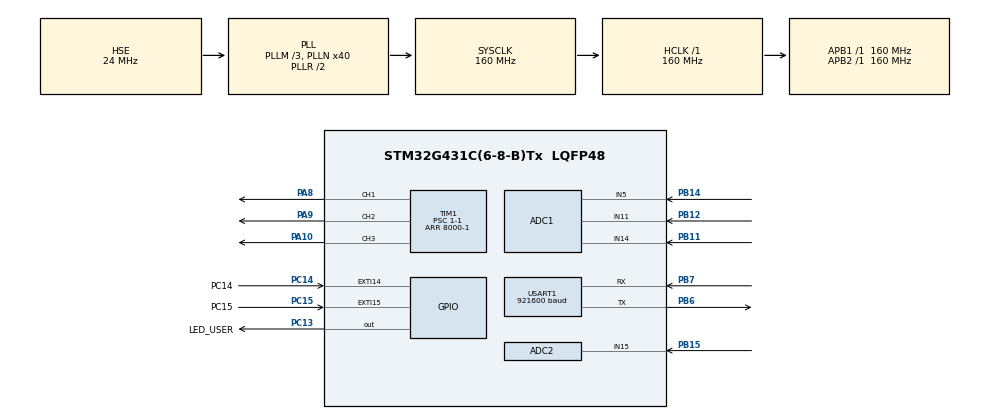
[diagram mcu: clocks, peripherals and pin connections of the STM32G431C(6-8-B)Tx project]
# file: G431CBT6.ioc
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ADC1.EnableInjectedConversion=ENABLE
ADC1.EnableRegularConversion=DISABLE
ADC1.ExternalTrigInjecConv=ADC_EXTERNALTRIGINJEC_T1_CC4
ADC1.InjNumberOfConversion=3
ADC1.InjectedChannel-1\#ChannelInjectedConversion=ADC_CHANNEL_5
ADC1.InjectedChannel-2\#ChannelInjectedConversion=ADC_CHANNEL_14
ADC1.InjectedChannel-3\#ChannelInjectedConversion=ADC_CHANNEL_11
ADC1.InjectedOffsetNumber-1\#ChannelInjectedConversion=ADC_OFFSET_NONE
ADC1.InjectedOffsetNumber-2\#ChannelInjectedConversion=ADC_OFFSET_NONE
ADC1.InjectedOffsetNumber-3\#ChannelInjectedConversion=ADC_OFFSET_NONE
ADC1.InjectedRank-1\#ChannelInjectedConversion=1
ADC1.InjectedRank-2\#ChannelInjectedConversion=2
ADC1.InjectedRank-3\#ChannelInjectedConversion=3
ADC1.InjectedSamplingTime-1\#ChannelInjectedConversion=ADC_SAMPLETIME_2CYCLES_5
ADC1.InjectedSamplingTime-2\#ChannelInjectedConversion=ADC_SAMPLETIME_2CYCLES_5
ADC1.InjectedSamplingTime-3\#ChannelInjectedConversion=ADC_SAMPLETIME_2CYCLES_5
ADC1.Rank1_Channel=ADC_CHANNEL_5
ADC1.Rank2_Channel=ADC_CHANNEL_14
ADC1.Rank3_Channel=ADC_CHANNEL_11
ADC1.master=1
ADC2.Channel-0\#ChannelRegularConversion=ADC_CHANNEL_15
ADC2.NbrOfConversionFlag=1
ADC2.OffsetNumber-0\#ChannelRegularConversion=ADC_OFFSET_NONE
ADC2.Rank-0\#ChannelRegularConversion=1
ADC2.SamplingTime-0\#ChannelRegularConversion=ADC_SAMPLETIME_2CYCLES_5
Dma.Request0=USART1_TX
Dma.USART1_TX.0.Direction=DMA_MEMORY_TO_PERIPH
Dma.USART1_TX.0.EventEnable=DISABLE
Dma.USART1_TX.0.Instance=DMA1_Channel1
Dma.USART1_TX.0.MemDataAlignment=DMA_MDATAALIGN_BYTE
Dma.USART1_TX.0.MemInc=DMA_MINC_ENABLE
Dma.USART1_TX.0.Mode=DMA_NORMAL
Dma.USART1_TX.0.PeriphDataAlignment=DMA_PDATAALIGN_BYTE
Dma.USART1_TX.0.PeriphInc=DMA_PINC_DISABLE
Dma.USART1_TX.0.Polarity=HAL_DMAMUX_REQ_GEN_RISING
Dma.USART1_TX.0.Priority=DMA_PRIORITY_LOW
Dma.USART1_TX.0.RequestNumber=1
Dma.USART1_TX.0.SignalID=NONE
Dma.USART1_TX.0.SyncEnable=DISABLE
Dma.USART1_TX.0.SyncPolarity=HAL_DMAMUX_SYNC_NO_EVENT
Dma.USART1_TX.0.SyncRequestNumber=1
Dma.USART1_TX.0.SyncSignalID=NONE
Mcu.Family=STM32G4
Mcu.Name=STM32G431C(6-8-B)Tx
Mcu.Package=LQFP48
NVIC.ADC1_2_IRQn=true\:0\:0\:false\:false\:true\:true\:true\:true
NVIC.DMA1_Channel1_IRQn=true\:0\:0\:false\:false\:true\:false\:true\:true
NVIC.EXTI15_10_IRQn=true\:0\:0\:true\:false\:true\:true\:true\:true
NVIC.PriorityGroup=NVIC_PRIORITYGROUP_4
NVIC.TIM1_BRK_TIM15_IRQn=true\:0\:0\:false\:false\:true\:true\:true\:true
NVIC.TIM1_CC_IRQn=true\:0\:0\:false\:false\:true\:true\:true\:true
NVIC.TIM1_UP_TIM16_IRQn=true\:0\:0\:false\:false\:true\:true\:true\:true
NVIC.USART1_IRQn=true\:0\:0\:false\:false\:true\:true\:true\:true
PA10.Signal=S_TIM1_CH3
PA13.Mode=Serial_Wire
PA13.Signal=SYS_JTMS-SWDIO
PA14.Mode=Serial_Wire
PA14.Signal=SYS_JTCK-SWCLK
PA8.Signal=S_TIM1_CH1
PA9.Signal=S_TIM1_CH2
PB11.Mode=IN14-Single-Ended
PB11.Signal=ADC1_IN14
PB12.Mode=IN11-Single-Ended
PB12.Signal=ADC1_IN11
PB14.Mode=IN5-Single-Ended
PB14.Signal=ADC1_IN5
PB15.Mode=IN15-Single-Ended
PB15.Signal=ADC2_IN15
PB6.Mode=Asynchronous
PB6.Signal=USART1_TX
PB7.Mode=Asynchronous
PB7.Signal=USART1_RX
PC13.GPIO_Label=LED_USER
PC13.PinState=GPIO_PIN_SET
PC13.Signal=GPIO_Output
PC14-OSC32_IN.GPIO_Label=PC14
PC14-OSC32_IN.GPIO_PuPd=GPIO_PULLUP
PC14-OSC32_IN.Signal=GPXTI14
PC15-OSC32_OUT.GPIO_Label=PC15
PC15-OSC32_OUT.GPIO_PuPd=GPIO_PULLUP
PC15-OSC32_OUT.Signal=GPXTI15
PF0-OSC_IN.Mode=HSE-External-Oscillator
PF0-OSC_IN.Signal=RCC_OSC_IN
PF1-OSC_OUT.Mode=HSE-External-Oscillator
PF1-OSC_OUT.Signal=RCC_OSC_OUT
ProjectManager.HeapSize=0x200
ProjectManager.StackSize=0x400
ProjectManager.TargetToolchain=MDK-ARM V5.32
RCC.ADC12Freq_Value=160000000
RCC.AHBFreq_Value=160000000
RCC.APB1Freq_Value=160000000
RCC.APB1TimFreq_Value=160000000
RCC.APB2Freq_Value=160000000
RCC.APB2TimFreq_Value=160000000
RCC.CortexFreq_Value=160000000
RCC.EXTERNAL_CLOCK_VALUE=12288000
RCC.EnbaleCSS=true
RCC.HCLKFreq_Value=160000000
RCC.HSE_VALUE=24000000
RCC.HSI48_VALUE=48000000
RCC.HSI_VALUE=16000000
RCC.LSE_VALUE=32768
RCC.PLLM=RCC_PLLM_DIV3
RCC.PLLN=40
RCC.PLLSourceVirtual=RCC_PLLSOURCE_HSE
RCC.SYSCLKFreq_VALUE=160000000
RCC.SYSCLKSource=RCC_SYSCLKSOURCE_PLLCLK
RCC.USBFreq_Value=160000000
RCC.VCOOutputFreq_Value=320000000
SH.S_TIM1_CH1.0=TIM1_CH1,PWM Generation1 CH1
SH.S_TIM1_CH2.0=TIM1_CH2,PWM Generation2 CH2
SH.S_TIM1_CH3.0=TIM1_CH3,PWM Generation3 CH3
TIM1.BreakFilter=0
TIM1.Channel-PWM\ Generation1\ CH1=TIM_CHANNEL_1
TIM1.Channel-PWM\ Generation2\ CH2=TIM_CHANNEL_2
TIM1.Channel-PWM\ Generation3\ CH3=TIM_CHANNEL_3
TIM1.Channel-PWM\ Generation4\ No\ Output=TIM_CHANNEL_4
TIM1.ClockDivision=TIM_CLOCKDIVISION_DIV2
TIM1.CounterMode=TIM_COUNTERMODE_CENTERALIGNED1
TIM1.OCMode_PWM-PWM\ Generation4\ No\ Output=TIM_OCMODE_PWM2
TIM1.PeriodNoDither=8000-1
TIM1.Prescaler=1-1
TIM1.PulseNoDither_4=8000-2
TIM1.RepetitionCounter=1
TIM1.TIM_MasterOutputTrigger=TIM_TRGO_OC4REF
USART1.BaudRate=921600
USART1.VirtualMode-Asynchronous=VM_ASYNC
VP_SYS_VS_DBSignals.Mode=DisableDeadBatterySignals
VP_TIM1_VS_no_output4.Mode=PWM Generation4 No Output
board=custom

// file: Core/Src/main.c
/* USER CODE BEGIN Header */
/**
  ******************************************************************************
  * @file           : main.c
  * @brief          : Main program body
  ******************************************************************************
  * @attention
  *
  * Copyright (c) 2024 STMicroelectronics.
  * All rights reserved.
  *
  * This software is licensed under terms that can be found in the LICENSE file
  * in the root directory of this software component.
  * If no LICENSE file comes with this software, it is provided AS-IS.
  *
  ******************************************************************************
  */
/* USER CODE END Header */
#include "main.h"

/* USER CODE BEGIN Includes */
#include "stdio.h"
#include "string.h"
#include "VF.h"
/* USER CODE END Includes */

ADC_HandleTypeDef hadc1;
ADC_HandleTypeDef hadc2;

TIM_HandleTypeDef htim1;

UART_HandleTypeDef huart1;
DMA_HandleTypeDef hdma_usart1_tx;

void SystemClock_Config(void);
static void MX_GPIO_Init(void);
static void MX_DMA_Init(void);
static void MX_TIM1_Init(void);
static void MX_ADC1_Init(void);
static void MX_ADC2_Init(void);
static void MX_USART1_UART_Init(void);

/* USER CODE BEGIN 0 */
float vbus=0.0f;
uint8_t adc_offset_flag=0;//adc offset
uint16_t adc1_in5_a=0,adc1_in14_b=0,adc1_in11_c=0;
uint16_t ia_offset = 0, ib_offset = 0, ic_offset = 0;
float ia, ib, ic;
float temp[7];
uint8_t tx_buffer[32] = {0, 0, 0, 0,0, 0, 0, 0,0, 0, 0, 0, 0, 0, 0, 0, 0, 0, 0, 0, 0, 0, 0, 0, 0, 0, 0, 0, 0, 0, 0x80, 0x7F};
/* USER CODE END 0 */

int main(void)
{

  /* MCU Configuration--------------------------------------------------------*/

  /* Reset of all peripherals, Initializes the Flash interface and the Systick. */
  HAL_Init();

  /* Configure the system clock */
  SystemClock_Config();

  /* Initialize all configured peripherals */
  MX_GPIO_Init();
  MX_DMA_Init();
  MX_TIM1_Init();
  MX_ADC1_Init();
  MX_ADC2_Init();
  MX_USART1_UART_Init();
  /* USER CODE BEGIN 2 */
	HAL_ADCEx_Calibration_Start(&hadc1, ADC_SINGLE_ENDED);   // enable adc1 cali
  HAL_ADCEx_Calibration_Start(&hadc2, ADC_SINGLE_ENDED);   // enable adc2 cali
  TIM1->ARR = 8000 - 1;
  TIM1->CCR4 = 8000 - 2;
	HAL_TIM_Base_Start(&htim1);
  HAL_TIM_PWM_Start(&htim1, TIM_CHANNEL_4);
  HAL_ADCEx_InjectedStart_IT(&hadc1);
	rtU.Freq=4;
	rtU.ud=0.0f;
	rtU.uq=6.0f;
  /* USER CODE END 2 */

  /* Infinite loop */
  while (1)
  {

    /* USER CODE BEGIN 3 */
		HAL_ADC_Start(&hadc2);
		vbus = HAL_ADC_GetValue(&hadc2)*(3.3f/4096.0f)*(11.0f);
		rtU.v_bus = vbus;
		HAL_Delay(1);
  }
  /* USER CODE END 3 */
}

void SystemClock_Config(void)
{
  RCC_OscInitTypeDef RCC_OscInitStruct = {0};
  RCC_ClkInitTypeDef RCC_ClkInitStruct = {0};

  /** Configure the main internal regulator output voltage
  */
  HAL_PWREx_ControlVoltageScaling(PWR_REGULATOR_VOLTAGE_SCALE1_BOOST);

  /** Initializes the RCC Oscillators according to the specified parameters
  * in the RCC_OscInitTypeDef structure.
  */
  RCC_OscInitStruct.OscillatorType = RCC_OSCILLATORTYPE_HSE;
  RCC_OscInitStruct.HSEState = RCC_HSE_ON;
  RCC_OscInitStruct.PLL.PLLState = RCC_PLL_ON;
  RCC_OscInitStruct.PLL.PLLSource = RCC_PLLSOURCE_HSE;
  RCC_OscInitStruct.PLL.PLLM = RCC_PLLM_DIV3;
  RCC_OscInitStruct.PLL.PLLN = 40;
  RCC_OscInitStruct.PLL.PLLP = RCC_PLLP_DIV2;
  RCC_OscInitStruct.PLL.PLLQ = RCC_PLLQ_DIV2;
  RCC_OscInitStruct.PLL.PLLR = RCC_PLLR_DIV2;
  if (HAL_RCC_OscConfig(&RCC_OscInitStruct) != HAL_OK)
  {
    Error_Handler();
  }

  /** Initializes the CPU, AHB and APB buses clocks
  */
  RCC_ClkInitStruct.ClockType = RCC_CLOCKTYPE_HCLK|RCC_CLOCKTYPE_SYSCLK
                              |RCC_CLOCKTYPE_PCLK1|RCC_CLOCKTYPE_PCLK2;
  RCC_ClkInitStruct.SYSCLKSource = RCC_SYSCLKSOURCE_PLLCLK;
  RCC_ClkInitStruct.AHBCLKDivider = RCC_SYSCLK_DIV1;
  RCC_ClkInitStruct.APB1CLKDivider = RCC_HCLK_DIV1;
  RCC_ClkInitStruct.APB2CLKDivider = RCC_HCLK_DIV1;

  if (HAL_RCC_ClockConfig(&RCC_ClkInitStruct, FLASH_LATENCY_4) != HAL_OK)
  {
    Error_Handler();
  }

  /** Enables the Clock Security System
  */
  HAL_RCC_EnableCSS();
}

static void MX_ADC1_Init(void)
{

  ADC_MultiModeTypeDef multimode = {0};
  ADC_InjectionConfTypeDef sConfigInjected = {0};

  /** Common config
  */
  hadc1.Instance = ADC1;
  hadc1.Init.ClockPrescaler = ADC_CLOCK_SYNC_PCLK_DIV4;
  hadc1.Init.Resolution = ADC_RESOLUTION_12B;
  hadc1.Init.DataAlign = ADC_DATAALIGN_RIGHT;
  hadc1.Init.GainCompensation = 0;
  hadc1.Init.ScanConvMode = ADC_SCAN_ENABLE;
  hadc1.Init.EOCSelection = ADC_EOC_SINGLE_CONV;
  hadc1.Init.LowPowerAutoWait = DISABLE;
  hadc1.Init.ContinuousConvMode = DISABLE;
  hadc1.Init.NbrOfConversion = 1;
  hadc1.Init.DiscontinuousConvMode = DISABLE;
  hadc1.Init.DMAContinuousRequests = DISABLE;
  hadc1.Init.Overrun = ADC_OVR_DATA_PRESERVED;
  hadc1.Init.OversamplingMode = DISABLE;
  if (HAL_ADC_Init(&hadc1) != HAL_OK)
  {
    Error_Handler();
  }

  /** Configure the ADC multi-mode
  */
  multimode.Mode = ADC_MODE_INDEPENDENT;
  if (HAL_ADCEx_MultiModeConfigChannel(&hadc1, &multimode) != HAL_OK)
  {
    Error_Handler();
  }

  /** Configure Injected Channel
  */
  sConfigInjected.InjectedChannel = ADC_CHANNEL_5;
  sConfigInjected.InjectedRank = ADC_INJECTED_RANK_1;
  sConfigInjected.InjectedSamplingTime = ADC_SAMPLETIME_2CYCLES_5;
  sConfigInjected.InjectedSingleDiff = ADC_SINGLE_ENDED;
  sConfigInjected.InjectedOffsetNumber = ADC_OFFSET_NONE;
  sConfigInjected.InjectedOffset = 0;
  sConfigInjected.InjectedNbrOfConversion = 3;
  sConfigInjected.InjectedDiscontinuousConvMode = DISABLE;
  sConfigInjected.AutoInjectedConv = DISABLE;
  sConfigInjected.QueueInjectedContext = DISABLE;
  sConfigInjected.ExternalTrigInjecConv = ADC_EXTERNALTRIGINJEC_T1_CC4;
  sConfigInjected.ExternalTrigInjecConvEdge = ADC_EXTERNALTRIGINJECCONV_EDGE_RISING;
  sConfigInjected.InjecOversamplingMode = DISABLE;
  if (HAL_ADCEx_InjectedConfigChannel(&hadc1, &sConfigInjected) != HAL_OK)
  {
    Error_Handler();
  }

  /** Configure Injected Channel
  */
  sConfigInjected.InjectedChannel = ADC_CHANNEL_14;
  sConfigInjected.InjectedRank = ADC_INJECTED_RANK_2;
  if (HAL_ADCEx_InjectedConfigChannel(&hadc1, &sConfigInjected) != HAL_OK)
  {
    Error_Handler();
  }

  /** Configure Injected Channel
  */
  sConfigInjected.InjectedChannel = ADC_CHANNEL_11;
  sConfigInjected.InjectedRank = ADC_INJECTED_RANK_3;
  if (HAL_ADCEx_InjectedConfigChannel(&hadc1, &sConfigInjected) != HAL_OK)
  {
    Error_Handler();
  }

}

static void MX_ADC2_Init(void)
{

  ADC_ChannelConfTypeDef sConfig = {0};

  /** Common config
  */
  hadc2.Instance = ADC2;
  hadc2.Init.ClockPrescaler = ADC_CLOCK_SYNC_PCLK_DIV4;
  hadc2.Init.Resolution = ADC_RESOLUTION_12B;
  hadc2.Init.DataAlign = ADC_DATAALIGN_RIGHT;
  hadc2.Init.GainCompensation = 0;
  hadc2.Init.ScanConvMode = ADC_SCAN_DISABLE;
  hadc2.Init.EOCSelection = ADC_EOC_SINGLE_CONV;
  hadc2.Init.LowPowerAutoWait = DISABLE;
  hadc2.Init.ContinuousConvMode = DISABLE;
  hadc2.Init.NbrOfConversion = 1;
  hadc2.Init.DiscontinuousConvMode = DISABLE;
  hadc2.Init.ExternalTrigConv = ADC_SOFTWARE_START;
  hadc2.Init.ExternalTrigConvEdge = ADC_EXTERNALTRIGCONVEDGE_NONE;
  hadc2.Init.DMAContinuousRequests = DISABLE;
  hadc2.Init.Overrun = ADC_OVR_DATA_PRESERVED;
  hadc2.Init.OversamplingMode = DISABLE;
  if (HAL_ADC_Init(&hadc2) != HAL_OK)
  {
    Error_Handler();
  }

  /** Configure Regular Channel
  */
  sConfig.Channel = ADC_CHANNEL_15;
  sConfig.Rank = ADC_REGULAR_RANK_1;
  sConfig.SamplingTime = ADC_SAMPLETIME_2CYCLES_5;
  sConfig.SingleDiff = ADC_SINGLE_ENDED;
  sConfig.OffsetNumber = ADC_OFFSET_NONE;
  sConfig.Offset = 0;
  if (HAL_ADC_ConfigChannel(&hadc2, &sConfig) != HAL_OK)
  {
    Error_Handler();
  }

}

static void MX_TIM1_Init(void)
{

  TIM_MasterConfigTypeDef sMasterConfig = {0};
  TIM_OC_InitTypeDef sConfigOC = {0};
  TIM_BreakDeadTimeConfigTypeDef sBreakDeadTimeConfig = {0};

  htim1.Instance = TIM1;
  htim1.Init.Prescaler = 1-1;
  htim1.Init.CounterMode = TIM_COUNTERMODE_CENTERALIGNED1;
  htim1.Init.Period = 7999;
  htim1.Init.ClockDivision = TIM_CLOCKDIVISION_DIV2;
  htim1.Init.RepetitionCounter = 1;
  htim1.Init.AutoReloadPreload = TIM_AUTORELOAD_PRELOAD_DISABLE;
  if (HAL_TIM_PWM_Init(&htim1) != HAL_OK)
  {
    Error_Handler();
  }
  sMasterConfig.MasterOutputTrigger = TIM_TRGO_OC4REF;
  sMasterConfig.MasterOutputTrigger2 = TIM_TRGO2_RESET;
  sMasterConfig.MasterSlaveMode = TIM_MASTERSLAVEMODE_DISABLE;
  if (HAL_TIMEx_MasterConfigSynchronization(&htim1, &sMasterConfig) != HAL_OK)
  {
    Error_Handler();
  }
  sConfigOC.OCMode = TIM_OCMODE_PWM1;
  sConfigOC.Pulse = 0;
  sConfigOC.OCPolarity = TIM_OCPOLARITY_HIGH;
  sConfigOC.OCNPolarity = TIM_OCNPOLARITY_HIGH;
  sConfigOC.OCFastMode = TIM_OCFAST_DISABLE;
  sConfigOC.OCIdleState = TIM_OCIDLESTATE_RESET;
  sConfigOC.OCNIdleState = TIM_OCNIDLESTATE_RESET;
  if (HAL_TIM_PWM_ConfigChannel(&htim1, &sConfigOC, TIM_CHANNEL_1) != HAL_OK)
  {
    Error_Handler();
  }
  if (HAL_TIM_PWM_ConfigChannel(&htim1, &sConfigOC, TIM_CHANNEL_2) != HAL_OK)
  {
    Error_Handler();
  }
  if (HAL_TIM_PWM_ConfigChannel(&htim1, &sConfigOC, TIM_CHANNEL_3) != HAL_OK)
  {
    Error_Handler();
  }
  sConfigOC.OCMode = TIM_OCMODE_PWM2;
  sConfigOC.Pulse = 7998;
  if (HAL_TIM_PWM_ConfigChannel(&htim1, &sConfigOC, TIM_CHANNEL_4) != HAL_OK)
  {
    Error_Handler();
  }
  sBreakDeadTimeConfig.OffStateRunMode = TIM_OSSR_DISABLE;
  sBreakDeadTimeConfig.OffStateIDLEMode = TIM_OSSI_DISABLE;
  sBreakDeadTimeConfig.LockLevel = TIM_LOCKLEVEL_OFF;
  sBreakDeadTimeConfig.DeadTime = 0;
  sBreakDeadTimeConfig.BreakState = TIM_BREAK_DISABLE;
  sBreakDeadTimeConfig.BreakPolarity = TIM_BREAKPOLARITY_HIGH;
  sBreakDeadTimeConfig.BreakFilter = 0;
  sBreakDeadTimeConfig.BreakAFMode = TIM_BREAK_AFMODE_INPUT;
  sBreakDeadTimeConfig.Break2State = TIM_BREAK2_DISABLE;
  sBreakDeadTimeConfig.Break2Polarity = TIM_BREAK2POLARITY_HIGH;
  sBreakDeadTimeConfig.Break2Filter = 0;
  sBreakDeadTimeConfig.Break2AFMode = TIM_BREAK_AFMODE_INPUT;
  sBreakDeadTimeConfig.AutomaticOutput = TIM_AUTOMATICOUTPUT_DISABLE;
  if (HAL_TIMEx_ConfigBreakDeadTime(&htim1, &sBreakDeadTimeConfig) != HAL_OK)
  {
    Error_Handler();
  }
  HAL_TIM_MspPostInit(&htim1);

}

static void MX_USART1_UART_Init(void)
{

  huart1.Instance = USART1;
  huart1.Init.BaudRate = 921600;
  huart1.Init.WordLength = UART_WORDLENGTH_8B;
  huart1.Init.StopBits = UART_STOPBITS_1;
  huart1.Init.Parity = UART_PARITY_NONE;
  huart1.Init.Mode = UART_MODE_TX_RX;
  huart1.Init.HwFlowCtl = UART_HWCONTROL_NONE;
  huart1.Init.OverSampling = UART_OVERSAMPLING_16;
  huart1.Init.OneBitSampling = UART_ONE_BIT_SAMPLE_DISABLE;
  huart1.Init.ClockPrescaler = UART_PRESCALER_DIV1;
  huart1.AdvancedInit.AdvFeatureInit = UART_ADVFEATURE_NO_INIT;
  if (HAL_UART_Init(&huart1) != HAL_OK)
  {
    Error_Handler();
  }
  if (HAL_UARTEx_SetTxFifoThreshold(&huart1, UART_TXFIFO_THRESHOLD_1_8) != HAL_OK)
  {
    Error_Handler();
  }
  if (HAL_UARTEx_SetRxFifoThreshold(&huart1, UART_RXFIFO_THRESHOLD_1_8) != HAL_OK)
  {
    Error_Handler();
  }
  if (HAL_UARTEx_DisableFifoMode(&huart1) != HAL_OK)
  {
    Error_Handler();
  }

}

static void MX_DMA_Init(void)
{

  /* DMA controller clock enable */
  __HAL_RCC_DMAMUX1_CLK_ENABLE();
  __HAL_RCC_DMA1_CLK_ENABLE();

  /* DMA interrupt init */
  /* DMA1_Channel1_IRQn interrupt configuration */
  HAL_NVIC_SetPriority(DMA1_Channel1_IRQn, 0, 0);
  HAL_NVIC_EnableIRQ(DMA1_Channel1_IRQn);

}

static void MX_GPIO_Init(void)
{
  GPIO_InitTypeDef GPIO_InitStruct = {0};

  /* GPIO Ports Clock Enable */
  __HAL_RCC_GPIOC_CLK_ENABLE();
  __HAL_RCC_GPIOF_CLK_ENABLE();
  __HAL_RCC_GPIOB_CLK_ENABLE();
  __HAL_RCC_GPIOA_CLK_ENABLE();

  /*Configure GPIO pin Output Level */
  HAL_GPIO_WritePin(LED_USER_GPIO_Port, LED_USER_Pin, GPIO_PIN_SET);

  /*Configure GPIO pin : LED_USER_Pin */
  GPIO_InitStruct.Pin = LED_USER_Pin;
  GPIO_InitStruct.Mode = GPIO_MODE_OUTPUT_PP;
  GPIO_InitStruct.Pull = GPIO_NOPULL;
  GPIO_InitStruct.Speed = GPIO_SPEED_FREQ_LOW;
  HAL_GPIO_Init(LED_USER_GPIO_Port, &GPIO_InitStruct);

  /*Configure GPIO pins : PC14_Pin PC15_Pin */
  GPIO_InitStruct.Pin = PC14_Pin|PC15_Pin;
  GPIO_InitStruct.Mode = GPIO_MODE_IT_RISING;
  GPIO_InitStruct.Pull = GPIO_PULLUP;
  HAL_GPIO_Init(GPIOC, &GPIO_InitStruct);

  /* EXTI interrupt init*/
  HAL_NVIC_SetPriority(EXTI15_10_IRQn, 0, 0);
  HAL_NVIC_EnableIRQ(EXTI15_10_IRQn);

}

/* USER CODE BEGIN 4 */
void HAL_GPIO_EXTI_Callback(uint16_t GPIO_Pin)
{
	UNUSED(GPIO_Pin);

	switch(GPIO_Pin)
	{
		case PC15_Pin:
			HAL_GPIO_WritePin(LED_USER_GPIO_Port,LED_USER_Pin,GPIO_PIN_RESET);
			HAL_TIM_PWM_Start(&htim1, TIM_CHANNEL_1);
			HAL_TIM_PWM_Start(&htim1, TIM_CHANNEL_2);
			HAL_TIM_PWM_Start(&htim1, TIM_CHANNEL_3);
			break;
		case PC14_Pin:
			HAL_GPIO_WritePin(LED_USER_GPIO_Port,LED_USER_Pin,GPIO_PIN_SET);
			HAL_TIM_PWM_Stop(&htim1, TIM_CHANNEL_1);
			HAL_TIM_PWM_Stop(&htim1, TIM_CHANNEL_2);
			HAL_TIM_PWM_Stop(&htim1, TIM_CHANNEL_3);
			TIM1->CCR1=0;
			TIM1->CCR2=0;
			TIM1->CCR3=0;
			break;
		default:
			break;
	}
}

void HAL_ADCEx_InjectedConvCpltCallback(ADC_HandleTypeDef *hadc)
{
  UNUSED(hadc);
	static int cnt=0;
	if(hadc==&hadc1)
	{
		if(adc_offset_flag==0)
		{
			cnt++;
			adc1_in5_a = hadc1.Instance->JDR1;
			adc1_in14_b = hadc1.Instance->JDR2;
			adc1_in11_c = hadc1.Instance->JDR3;
			ia_offset+=adc1_in5_a;
			ib_offset+=adc1_in14_b;
			ic_offset+=adc1_in11_c;
			if (cnt >= 10)
      {
        adc_offset_flag = 1;
        ia_offset /= 10;
        ib_offset /= 10;
        ic_offset /= 10;
      }
		}else{
			adc1_in5_a = hadc1.Instance->JDR1;
			ia = (adc1_in5_a-ia_offset)*0.00460491889f;
			adc1_in14_b = hadc1.Instance->JDR2;
			ib = (adc1_in14_b-ib_offset)*0.00460491889f;
			adc1_in11_c = hadc1.Instance->JDR3;
			ic = (adc1_in11_c-ic_offset)*0.00460491889f;

			VF_step();
			TIM1->CCR1 = rtY.tABC[0];
			TIM1->CCR2 = rtY.tABC[1];
			TIM1->CCR3 = rtY.tABC[2];

			temp[0] = ia;
			temp[1] = ib;
			temp[2] = ic;
			temp[3] = vbus;
			temp[4] = rtY.tABC[0];
			temp[5] = rtY.tABC[1];
			temp[6] = rtY.tABC[2];
      memcpy(tx_buffer, (uint8_t *)&temp, sizeof(temp));
      HAL_UART_Transmit_DMA(&huart1, (uint8_t *)tx_buffer, sizeof(tx_buffer));
		}
	}

}
/* USER CODE END 4 */

void Error_Handler(void)
{
  __disable_irq();
  while (1)
  {
  }
}
